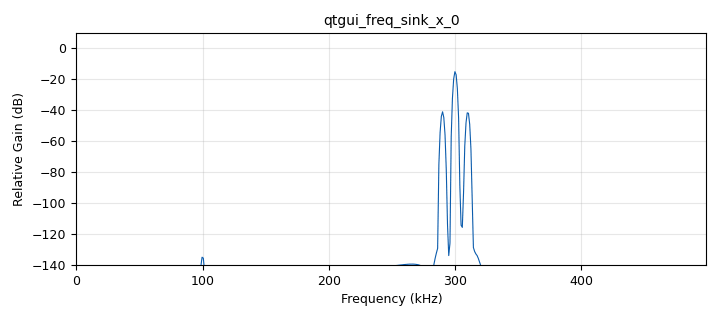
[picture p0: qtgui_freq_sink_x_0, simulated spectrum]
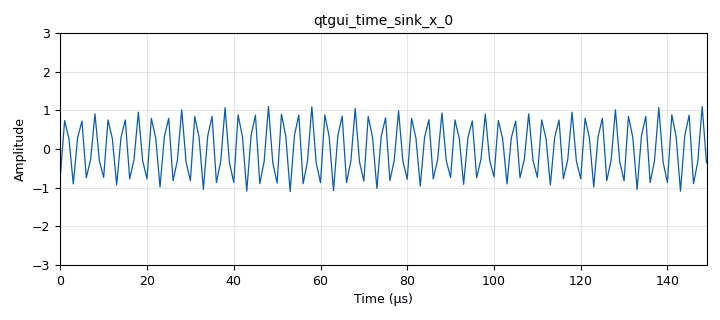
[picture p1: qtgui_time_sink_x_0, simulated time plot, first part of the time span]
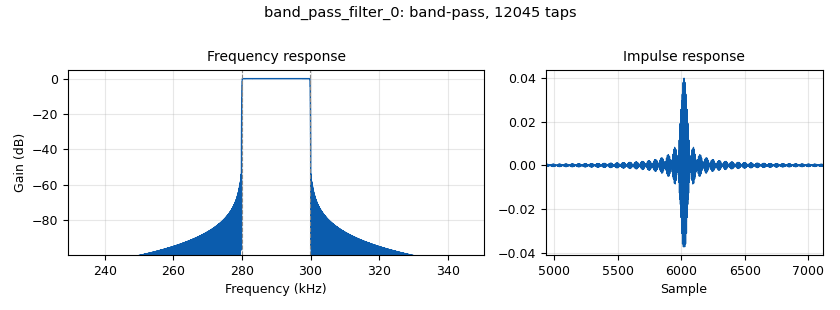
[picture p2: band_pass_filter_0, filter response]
options:
  parameters:
    author: Dell
    generate_options: qt_gui
    id: top_block
    output_language: python
    title: top_block
  states: {}

blocks:
- name: Carrier
  id: variable_qtgui_entry
  parameters:
    gui_hint: 3,0,1,4
    label: Carrier
    type: real
    value: '1'
  states: {}
- name: FilterON
  id: variable_qtgui_check_box
  parameters:
    'false': '1'
    label: Filter ON
    'true': '0'
    type: real
    value: '1'
  states: {}
- name: Filter_Rec_ON
  id: variable_qtgui_check_box
  parameters:
    'false': '1'
    label: Filter_Rec_ON
    'true': '0'
    type: real
    value: '1'
  states: {}
- name: Freq_carrier
  id: variable_qtgui_range
  parameters:
    gui_hint: 2,4,1,4
    label: Frequency Carrier
    orient: Qt.Horizontal
    start: '0'
    step: '5000'
    stop: '500000'
    value: '300000'
  states: {}
- name: Freq_info
  id: variable_qtgui_range
  parameters:
    gui_hint: 2,0,1,4
    label: Frequency information Wave
    orient: Qt.Horizontal
    start: '0'
    step: '1'
    stop: '50000'
    value: '10015'
  states: {}
- name: Index_of_modulation
  id: variable_qtgui_entry
  parameters:
    gui_hint: 4,0,1,4
    label: Index
    type: real
    value: '0.1'
  states: {}
- name: samp_rate
  id: variable
  parameters:
    value: '1000000'
  states: {}
- name: analog_sig_source_x_0
  id: analog_sig_source_x
  parameters:
    amp: '1'
    freq: Freq_info
    offset: '0'
    phase: '0'
    samp_rate: samp_rate
    type: float
    waveform: analog.GR_COS_WAVE
  states: {}
- name: analog_sig_source_x_1
  id: analog_sig_source_x
  parameters:
    amp: '1'
    freq: Freq_carrier
    offset: '0'
    phase: '0'
    samp_rate: samp_rate
    type: float
    waveform: analog.GR_COS_WAVE
  states: {}
- name: band_pass_filter_0
  id: band_pass_filter
  parameters:
    alias: LSB_filter
    decim: '1'
    gain: '1'
    high_cutoff_freq: 'Freq_carrier-100  '
    low_cutoff_freq: Freq_carrier-2*Freq_info
    samp_rate: samp_rate
    type: fir_filter_fff
    width: '200'
    win: firdes.WIN_HAMMING
  states: {}
- name: blocks_add_const_vxx_0
  id: blocks_add_const_vxx
  parameters:
    const: Carrier
    type: float
  states: {}
- name: blocks_multiply_const_vxx_0
  id: blocks_multiply_const_vxx
  parameters:
    const: Index_of_modulation
    type: float
  states: {}
- name: blocks_multiply_xx_0
  id: blocks_multiply_xx
  parameters:
    type: float
  states: {}
- name: blocks_selector_0
  id: blocks_selector
  parameters:
    enabled: 'True'
    input_index: '0'
    num_inputs: '1'
    num_outputs: '2'
    output_index: FilterON
    type: float
  states: {}
- name: blocks_selector_0_0
  id: blocks_selector
  parameters:
    enabled: 'True'
    input_index: Filter_Rec_ON
    num_inputs: '2'
    num_outputs: '1'
    output_index: '0'
    showports: 'False'
    type: float
  states: {}
- name: blocks_throttle_0
  id: blocks_throttle
  parameters:
    samples_per_second: samp_rate
    type: float
  states: {}
- name: qtgui_freq_sink_x_0
  id: qtgui_freq_sink_x
  parameters:
    average: '0.05'
    bw: samp_rate
    fc: '0'
    fftsize: '1024'
    freqhalf: 'False'
    gui_hint: 0,0,1,4
    type: float
    wintype: firdes.WIN_BLACKMAN_hARRIS
  states: {}
- name: qtgui_time_sink_x_0
  id: qtgui_time_sink_x
  parameters:
    ctrlpanel: 'True'
    gui_hint: 0,4,1,4
    size: '2048'
    srate: samp_rate
    type: float
    update_time: '0.30'
    ymax: '3'
    ymin: '-3'
  states: {}

connections:
- [analog_sig_source_x_0, '0', blocks_multiply_const_vxx_0, '0']
- [analog_sig_source_x_1, '0', blocks_multiply_xx_0, '1']
- [band_pass_filter_0, '0', blocks_selector_0_0, '0']
- [blocks_add_const_vxx_0, '0', blocks_multiply_xx_0, '0']
- [blocks_multiply_const_vxx_0, '0', blocks_add_const_vxx_0, '0']
- [blocks_multiply_xx_0, '0', blocks_selector_0, '0']
- [blocks_selector_0, '0', band_pass_filter_0, '0']
- [blocks_selector_0, '1', blocks_selector_0_0, '1']
- [blocks_selector_0_0, '0', blocks_throttle_0, '0']
- [blocks_throttle_0, '0', qtgui_freq_sink_x_0, '0']
- [blocks_throttle_0, '0', qtgui_time_sink_x_0, '0']

metadata:
  file_format: 1
